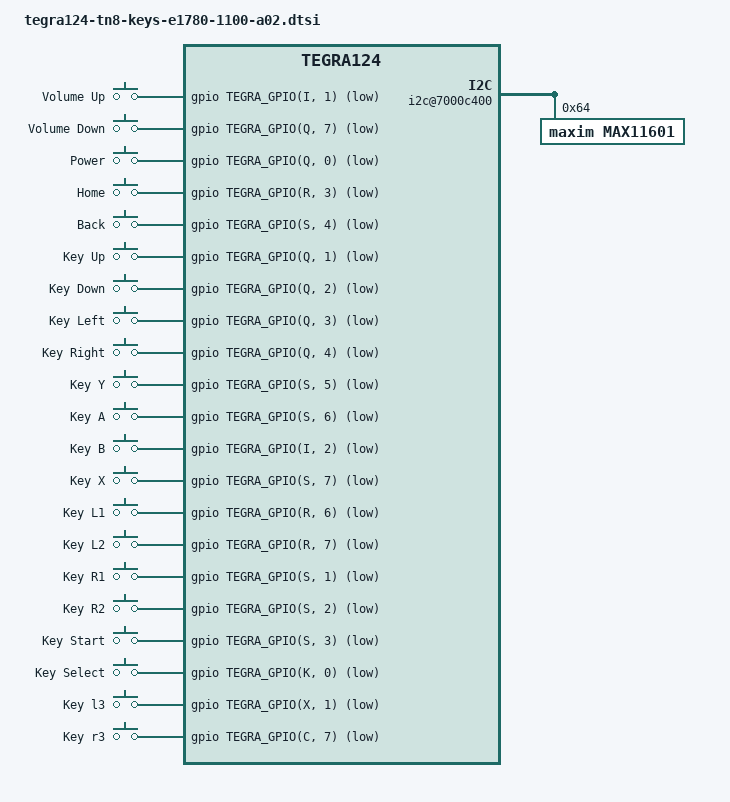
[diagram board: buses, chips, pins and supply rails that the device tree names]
#include <dt-bindings/gpio/tegra-gpio.h>
#include <dt-bindings/input/input.h>

/ {
	gpio-keys {
		compatible = "gpio-keys";

		volume_up {
			label = "Volume Up";
			gpios = <&gpio TEGRA_GPIO(I, 1) GPIO_ACTIVE_LOW>;
			linux,code = <KEY_VOLUMEUP>;
		};
		
		volume_down {
			label = "Volume Down";	
			gpios = <&gpio TEGRA_GPIO(Q, 7) GPIO_ACTIVE_LOW>;	
			linux,code = <KEY_VOLUMEDOWN>;
		};
		
		power {
			label = "Power";
			gpios = <&gpio TEGRA_GPIO(Q, 0) GPIO_ACTIVE_LOW>;
			linux,code = <KEY_POWER>;
			gpio-key,wakeup;
		};
		
		home {
			label = "Home";
			gpios = <&gpio TEGRA_GPIO(R, 3) GPIO_ACTIVE_LOW>;
			linux,code = <KEY_HOME>;
		};
		
		back {
			label = "Back";
			gpios = <&gpio TEGRA_GPIO(S, 4) GPIO_ACTIVE_LOW>;
			linux,code = <KEY_BACK>;
		};

		key_up {
			label = "Key Up";
			gpios = <&gpio TEGRA_GPIO(Q, 1) GPIO_ACTIVE_LOW>;
			linux,code = <KEY_UP>;
		};

		key_down {
			label = "Key Down";
			gpios = <&gpio TEGRA_GPIO(Q, 2) GPIO_ACTIVE_LOW>;
			linux,code = <KEY_DOWN>;
		};

		key_left {
			label = "Key Left";
			gpios = <&gpio TEGRA_GPIO(Q, 3) GPIO_ACTIVE_LOW>;
			linux,code = <KEY_LEFT>;
		};
		
		key_right {
			label = "Key Right";
			gpios = <&gpio TEGRA_GPIO(Q, 4) GPIO_ACTIVE_LOW>;
			linux,code = <KEY_RIGHT>;
		};
	
		key_y {
			label = "Key Y";
			gpios = <&gpio TEGRA_GPIO(S, 5) GPIO_ACTIVE_LOW>;
			
			linux,code = <BTN_Y>;
		};
			
		key_a {
			label = "Key A";	
			gpios = <&gpio TEGRA_GPIO(S, 6) GPIO_ACTIVE_LOW>;	
			
			linux,code = <BTN_A>;
		};
		
		key_b {
			label = "Key B";		
			
			gpios = <&gpio TEGRA_GPIO(I, 2) GPIO_ACTIVE_LOW>;
			linux,code = <BTN_B>;
		};
		
		key_x {
			label = "Key X";		
			
			gpios = <&gpio TEGRA_GPIO(S, 7) GPIO_ACTIVE_LOW>;
			linux,code = <BTN_X>;
		};
		
       key_l1 {
              label = "Key L1";

              gpios = <&gpio TEGRA_GPIO(R, 6) GPIO_ACTIVE_LOW>;
                  linux,code = <BTN_TL>;
          };

       key_l2 {
               label = "Key L2";
               gpios = <&gpio TEGRA_GPIO(R, 7) GPIO_ACTIVE_LOW>;
               linux,code = <BTN_TL2>;
           };

		
		key_r1 {
			label = "Key R1";
			gpios = <&gpio TEGRA_GPIO(S, 1) GPIO_ACTIVE_LOW>;
			linux,code = <BTN_TR>;
		};
		
		key_r2 {
			label = "Key R2";
			gpios = <&gpio TEGRA_GPIO(S, 2) GPIO_ACTIVE_LOW>;
			
			linux,code = <BTN_TR2>;
		};
		
		key_start {
			label = "Key Start";
			gpios = <&gpio TEGRA_GPIO(S, 3) GPIO_ACTIVE_LOW>;
			linux,code = <BTN_START>;
		};
		key_select {
			label = "Key Select";
			gpios = <&gpio TEGRA_GPIO(K, 0) GPIO_ACTIVE_LOW>;
			
			linux,code = <BTN_SELECT>;
		};
		
		key_l3 {
			label = "Key l3";
			gpios = <&gpio TEGRA_GPIO(X, 1) GPIO_ACTIVE_LOW>;
			linux,code = <BTN_THUMBL>;
		};
		key_r3 {
			label = "Key r3";
			gpios = <&gpio TEGRA_GPIO(C, 7) GPIO_ACTIVE_LOW>;
			linux,code = <BTN_THUMBR>;
		};
				
	};

	i2c@7000c400 {
		max11601@64 {
			compatible = "maxim,max11601";
			reg = <0x64>;
		};
	};
};
